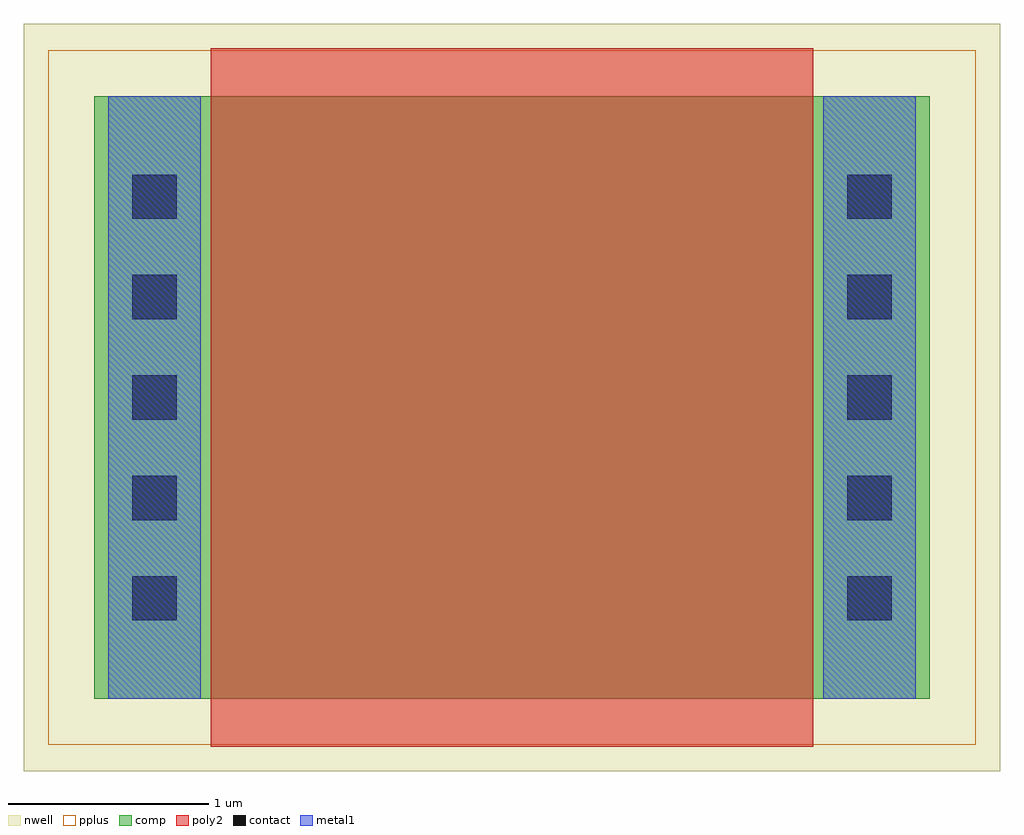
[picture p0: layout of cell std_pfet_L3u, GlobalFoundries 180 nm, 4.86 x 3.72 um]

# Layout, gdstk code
import gdstk
lib = gdstk.Library(unit=1e-6, precision=5e-09)
def R(c, l, rs):  # rectangles x0, y0, x1, y1
    for r in rs: c.add(gdstk.rectangle(r[:2], r[2:], *l))
def A(c, l, x, y, w, h, nx, ny, dx, dy):  # array of equal rectangles
    R(c, l, [(x+i*dx, y+j*dy, x+i*dx+w, y+j*dy+h) for i in range(nx) for j in range(ny)])
nwell = (21, 0)
comp = (22, 0)
poly2 = (30, 0)
pplus = (31, 0)
contact = (33, 0)
metal1 = (34, 0)

std_pfet_l3u = lib.new_cell('std_pfet_L3u')
R(std_pfet_l3u, nwell, [(-2.43,-1.86,2.43,1.86)])
R(std_pfet_l3u, comp, [(-2.08,-1.5,2.08,1.5)])
R(std_pfet_l3u, poly2, [(-1.5,-1.74,1.5,1.74)])
R(std_pfet_l3u, pplus, [(-2.31,-1.73,2.31,1.73)])
A(std_pfet_l3u, contact, -1.89, -1.11, 0.22, 0.22, 1, 5, 0, 0.5)
A(std_pfet_l3u, contact, 1.67, -1.11, 0.22, 0.22, 1, 5, 0, 0.5)
A(std_pfet_l3u, metal1, -2.01, -1.23, 0.46, 0.46, 1, 5, 0, 0.5)
A(std_pfet_l3u, metal1, 1.55, -1.23, 0.46, 0.46, 1, 5, 0, 0.5)
R(std_pfet_l3u, metal1, [(-2.01,-1.5,-1.55,1.5), (1.55,-1.5,2.01,1.5)])

lib.write_gds('std_pfet_L3u.gds')
